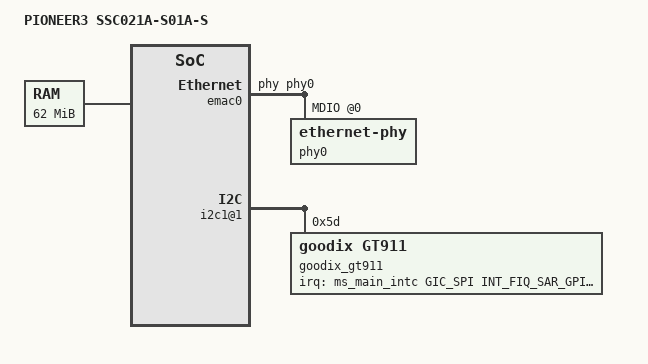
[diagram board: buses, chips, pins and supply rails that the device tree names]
/*
* pioneer3-ssc01xa.dts- Sigmastar
*
* Copyright (c) [2019~2020] SigmaStar Technology.
*
*
* This software is licensed under the terms of the GNU General Public
* License version 2, as published by the Free Software Foundation, and
* may be copied, distributed, and modified under those terms.
*
* This program is distributed in the hope that it will be useful,
* but WITHOUT ANY WARRANTY; without even the implied warranty of
* MERCHANTABILITY or FITNESS FOR A PARTICULAR PURPOSE.  See the
* GNU General Public License version 2 for more details.
*
*/

/dts-v1/;
#include "pioneer3.dtsi"
#include "pioneer3-demo.dtsi"
#include "pioneer3-ssc021a-s01a-demo-padmux.dtsi"

/ {
    model = "PIONEER3 SSC021A-S01A-S";
    compatible = "sstar,pioneer3";

    /* memory setting will be replaced with LX_MEM*/
    memory {
        reg = <0x20000000 0x03E00000>;
    };
	/* this cmdline will be replaced with uboot bootargs*/
    chosen {
        bootargs = "console=ttyS0,115200n8r androidboot.console=ttyS0 root=/dev/mtdblock2 init=/linuxrc cma=16m earlyprintk";
    };

    /*!!IMPORTANT!! The reserved memory must be 1MB aligned*/
    reserved-memory {
        #address-cells = <1>;
        #size-cells = <1>;
        ranges;

        /*cma0 {
            compatible = "shared-dma-pool";
            size = <0x400000>;
            reusable;
            alignment = <0x1000>;
            linux,cma-default;
        };*/
    };
    soc {
	    //QFN68-CFG
	    /*
            sdmmc {
                compatible = "sstar,sdmmc";
                slot-fakecdzs = <0>,<0>,<0>;
                //QFN68-CFG
                slot-pad-orders = <1>,<0>,<0>;
                slot-cdzs-gpios = <PAD_TTL0>,<0>,<0>;
                slot-pwr-gpios = <PAD_TTL7>,<0>,<0>;
                slot-sdio-use = <0>,<0>,<0>;
                slot-removable = <1>,<1>,<1>;
		slot-en-pwr-high-valid = <0>,<0>,<0>;
            };	
	    */	
            emac0: emac0 {
                compatible = "sstar-emac";
                reg = <0x1F2A2000 0x800>, <0x1F343C00 0x600>, <0x1F006200 0x600>; //for internal phy
                pad = <0x1F2079B8 0x000F 0x0000>;  //for internal phy
                status = "ok";
                phy-handle = <&phy0>;
                mdio-bus {
                    phy0: ethernet-phy@0 {
                        phy-mode = "mii";
                    };
                };
            };

            //for emac0 rmii
/*
            emac0: emac0 {
                compatible = "sstar-emac";
                reg = <0x1F2A2000 0x800>, <0x1F343C00 0x600>, <0x00000000 0x600>; //for external phy
                pad = <0x1F2079B8 0x000F 0x000B>;  //for external phy
                status = "ok";
                phy-mode = "rmii";
                fixed-link = <0 1 100 0 0>;
            };
*/
            i2c1@1{
                compatible = "sstar,i2c";
	            reg = <0x1F223200 0x200>,<0x1F207800 0x200>,<0x1F207000 0x200>;
	                #address-cells = <1>;
	                #size-cells = <0>;
	            clocks = <&CLK_miic1>;
	            i2c-group = <1>;
                /*
                 * padmux: 
                 *         2 -> PAD_SR_IO00, PAD_SR_IO01
                 *         8 -> PAD_KEY8 PAD_KEY9 
                */
                i2c-padmux = <2>;
                status = "ok";
                goodix_gt911@5D{
                    compatible = "goodix,gt911";
                    reg = <0x5D>;
                    goodix_rst = <PAD_SR_IO11>;
                    goodix_int = <PAD_SAR_GPIO0>;
                    interrupts-extended = <&ms_main_intc GIC_SPI INT_FIQ_SAR_GPIO_0 IRQ_TYPE_LEVEL_HIGH>;
                    interrupt-names = "goodix_int";
                };
            };

        };

};
